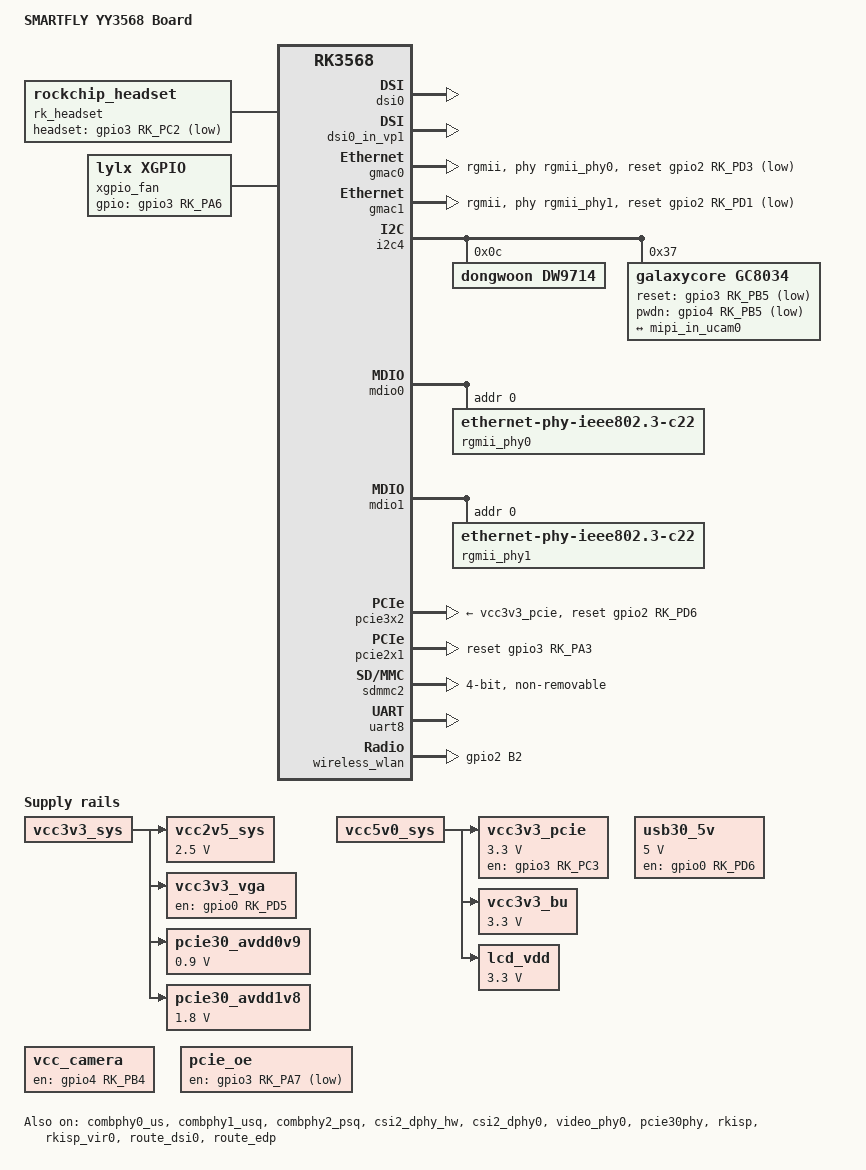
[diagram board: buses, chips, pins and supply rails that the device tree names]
// SPDX-License-Identifier: (GPL-2.0+ OR MIT)
/*
 * Copyright (c) 2020 Rockchip Electronics Co., Ltd.
 *
 */

/dts-v1/;

#include <dt-bindings/gpio/gpio.h>
#include <dt-bindings/pinctrl/rockchip.h>
#include "rk3568.dtsi"
#include "rk3568-evb.dtsi"

#include "rk3568-vp0-hdmi.dtsi"

/ {
	model = "SMARTFLY YY3568 Board";
	compatible = "rockchip,rk3568-evb1-ddr4-v10", "rockchip,rk3568";

	rk_headset: rk-headset {
		compatible = "rockchip_headset";
		headset_gpio = <&gpio3 RK_PC2 GPIO_ACTIVE_LOW>;
		pinctrl-names = "default";
		pinctrl-0 = <&hp_det>;
	};

	vcc2v5_sys: vcc2v5-ddr {
		compatible = "regulator-fixed";
		regulator-name = "vcc2v5-sys";
		regulator-always-on;
		regulator-boot-on;
		regulator-min-microvolt = <2500000>;
		regulator-max-microvolt = <2500000>;
		vin-supply = <&vcc3v3_sys>;
	};

	vcc3v3_vga: vcc3v3-vga {
		compatible = "regulator-fixed";
		regulator-name = "vcc3v3_vga";
		regulator-always-on;
		regulator-boot-on;
		gpio = <&gpio0 RK_PD5 GPIO_ACTIVE_HIGH>;
		enable-active-high;
		vin-supply = <&vcc3v3_sys>;
	};

	usb30-5v-regulator{
		compatible = "regulator-fixed";
		pinctrl-names = "default";
		pinctrl-0 = <&usb30_5v>;
		gpio = <&gpio0 RK_PD6 GPIO_ACTIVE_HIGH>;
		regulator-name = "usb30_5v";
		regulator-min-microvolt = <5000000>;
		regulator-max-microvolt = <5000000>;
		enable-active-high;
		regulator-always-on;
		regulator-boot-on;
	};

	pcie30_avdd0v9: pcie30-avdd0v9 {
		compatible = "regulator-fixed";
		regulator-name = "pcie30_avdd0v9";
		regulator-always-on;
		regulator-boot-on;
		regulator-min-microvolt = <900000>;
		regulator-max-microvolt = <900000>;
		vin-supply = <&vcc3v3_sys>;
	};

	pcie30_avdd1v8: pcie30-avdd1v8 {
		compatible = "regulator-fixed";
		regulator-name = "pcie30_avdd1v8";
		regulator-always-on;
		regulator-boot-on;
		regulator-min-microvolt = <1800000>;
		regulator-max-microvolt = <1800000>;
		vin-supply = <&vcc3v3_sys>;
	};

	vcc3v3_pcie: gpio-regulator {
		compatible = "regulator-fixed";
		regulator-name = "vcc3v3_pcie";
		regulator-min-microvolt = <3300000>;
		regulator-max-microvolt = <3300000>;
		enable-active-high;
		gpio = <&gpio3 RK_PC3 GPIO_ACTIVE_HIGH>;
		startup-delay-us = <5000>;
		vin-supply = <&vcc5v0_sys>;
	};

	vcc3v3_bu: vcc3v3-bu {
		compatible = "regulator-fixed";
		regulator-name = "vcc3v3_bu";
		regulator-always-on;
		regulator-boot-on;
		regulator-min-microvolt = <3300000>;
		regulator-max-microvolt = <3300000>;
		vin-supply = <&vcc5v0_sys>;
	};

	lcd_vdd:lcd-vdd-regulator{
		compatible = "regulator-fixed";
		regulator-name = "vdd3v3";
		regulator-always-on;
		regulator-boot-on;
		regulator-min-microvolt = <3300000>;
		regulator-max-microvolt = <3300000>;
		vin-supply = <&vcc5v0_sys>;
	};


	vcc_camera: vcc-camera-regulator {
		compatible = "regulator-fixed";
		gpio = <&gpio4 RK_PB4 GPIO_ACTIVE_HIGH>;
		pinctrl-names = "default";
		pinctrl-0 = <&camera_pwr>;
		regulator-name = "vcc_camera";
		enable-active-high;
		regulator-always-on;
		regulator-boot-on;
	};

	pcie-oe-regulator {
		compatible = "regulator-fixed";
		gpio = <&gpio3 RK_PA7 GPIO_ACTIVE_HIGH>;
		pinctrl-names = "default";
		pinctrl-0 = <&pcie_oe>;
		regulator-name = "pcie_oe";
		//enable-active-high; //active low
		regulator-always-on;
		regulator-boot-on;
	};

	xgpio_fan {
		compatible = "lylx,xgpio";
		pinctrl-names = "default";
		pinctrl-0 = <&fan_gpio>;
		gpio = <&gpio3 RK_PA6 GPIO_ACTIVE_HIGH>;
		def_val=<1>;
		status = "okay";
	};
};

&combphy0_us {
	status = "okay";
};

&combphy1_usq {
	status = "okay";
};

&combphy2_psq {
	status = "okay";
};

&csi2_dphy_hw {
	status = "okay";
};

&csi2_dphy0 {
	//csi2_dphy0不与csi2_dphy1/csi2_dphy2同时使用，互斥
	status = "okay";
	ports {
		#address-cells = <1>;
		#size-cells = <0>;
		port@0 {
			reg = <0>;
			#address-cells = <1>;
			#size-cells = <0>;

			mipi_in_ucam0: endpoint@2 {
				reg = <2>;
				remote-endpoint = <&gc8034_out>;
				data-lanes = <1 2 3 4>;
			};
		};
		port@1 {
			reg = <1>;
			#address-cells = <1>;
			#size-cells = <0>;

			csidphy_out: endpoint@0 {
				reg = <0>;
				remote-endpoint = <&isp0_in>;
			};
		};
	};
};

/*
 * video_phy0 needs to be enabled
 * when dsi0 is enabled
 */
&dsi0 {
	status = "okay";
};

&dsi0_in_vp0 {
	status = "disabled";
};

&dsi0_in_vp1 {
	status = "okay";
};

&dsi0_panel {
	power-supply = <&vcc3v3_lcd0_n>;
};

/*
 * video_phy1 needs to be enabled
 * when dsi1 is enabled
 */
&dsi1 {
	status = "disabled";
};

&dsi1_in_vp0 {
	status = "disabled";
};

&dsi1_in_vp1 {
	status = "disabled";
};

&dsi1_panel {
	power-supply = <&vcc3v3_lcd1_n>;
};

&edp {
	status = "disabled";
};

&edp_phy {
	status = "disabled";
};

&edp_in_vp0 {
	status = "disabled";
};

&edp_in_vp1 {
	status = "disabled";
};

&gmac0 {
	phy-mode = "rgmii";
	clock_in_out = "output";

	snps,reset-gpio = <&gpio2 RK_PD3 GPIO_ACTIVE_LOW>;
	snps,reset-active-low;
	/* Reset time is 20ms, 100ms for rtl8211f */
	snps,reset-delays-us = <0 20000 100000>;

	assigned-clocks = <&cru SCLK_GMAC0_RX_TX>, <&cru SCLK_GMAC0>;
	assigned-clock-parents = <&cru SCLK_GMAC0_RGMII_SPEED>, <&cru CLK_MAC0_2TOP>;
	assigned-clock-rates = <0>, <125000000>;

	pinctrl-names = "default";
	pinctrl-0 = <&gmac0_miim
		     &gmac0_tx_bus2
		     &gmac0_rx_bus2
		     &gmac0_rgmii_clk
		     &gmac0_rgmii_bus>;

	tx_delay = <0x3c>;
	rx_delay = <0x2f>;

	phy-handle = <&rgmii_phy0>;
	status = "okay";
};

&gmac1 {
	phy-mode = "rgmii";
	clock_in_out = "output";

	snps,reset-gpio = <&gpio2 RK_PD1 GPIO_ACTIVE_LOW>;
	snps,reset-active-low;
	/* Reset time is 20ms, 100ms for rtl8211f */
	snps,reset-delays-us = <0 20000 100000>;

	assigned-clocks = <&cru SCLK_GMAC1_RX_TX>, <&cru SCLK_GMAC1>;
	assigned-clock-parents = <&cru SCLK_GMAC1_RGMII_SPEED>, <&cru CLK_MAC1_2TOP>;
	assigned-clock-rates = <0>, <125000000>;

	pinctrl-names = "default";
	pinctrl-0 = <&gmac1m1_miim
		     &gmac1m1_tx_bus2
		     &gmac1m1_rx_bus2
		     &gmac1m1_rgmii_clk
		     &gmac1m1_rgmii_bus>;

	tx_delay = <0x4f>;
	rx_delay = <0x26>;

	phy-handle = <&rgmii_phy1>;
	status = "okay";
};

&i2c4 {
	status = "okay";

	dw9714: dw9714@c {
		compatible = "dongwoon,dw9714";
		status = "okay";
		reg = <0x0c>;
		rockchip,camera-module-index = <0>;
		rockchip,vcm-start-current = <10>;
		rockchip,vcm-rated-current = <85>;
		rockchip,vcm-step-mode = <5>;
		rockchip,camera-module-facing = "back";
	};

	gc8034: gc8034@37 {
		compatible = "galaxycore,gc8034";
		reg = <0x37>;
		clocks = <&cru CLK_CIF_OUT>;
		clock-names = "xvclk";
		power-domains = <&power RK3568_PD_VI>;
		//sensor mclk pinctl设置。如果sensor的工作时钟由主控提供，则此处必须配置
		pinctrl-names = "default";
		pinctrl-0 = <&cif_clk>;
		// reset管脚分配及有效电平
		reset-gpios = <&gpio3 RK_PB5 GPIO_ACTIVE_LOW>;
		// powerdown管脚分配及有效电平
		pwdn-gpios = <&gpio4 RK_PB5 GPIO_ACTIVE_LOW>;
		rockchip,grf = <&grf>;
		// 模组编号，该编号不要重复
		rockchip,camera-module-index = <0>;
		// 模组朝向，有"back"和"front"
		rockchip,camera-module-facing = "back";
		rockchip,camera-module-name = "RK-CMK-8M-2-v1";
		rockchip,camera-module-lens-name = "CK8401";
		lens-focus = <&dw9714>;
		port {
			gc8034_out: endpoint {
				// csi2 dphy端的port名
				remote-endpoint = <&mipi_in_ucam0>;
				// csi2 dphy lane数，1lane为 <1>, 4lane为 <1 2 3 4>
				// rk3568支持1*4lane和2*2lane两种模式
				data-lanes = <1 2 3 4>;
			};
		};
	};

};

&mdio0 {
	rgmii_phy0: phy@0 {
		compatible = "ethernet-phy-ieee802.3-c22";
		reg = <0x0>;
	};
};

&mdio1 {
	rgmii_phy1: phy@0 {
		compatible = "ethernet-phy-ieee802.3-c22";
		reg = <0x0>;
	};
};

&video_phy0 {
	status = "okay";
};

&video_phy1 {
	status = "disabled";
};

&pcie30phy {
	status = "okay";
};

&pcie3x2 {
	reset-gpios = <&gpio2 RK_PD6 GPIO_ACTIVE_HIGH>;
	vpcie3v3-supply = <&vcc3v3_pcie>;
	status = "okay";
};

&pcie2x1 {
	reset-gpios = <&gpio3 RK_PA3 GPIO_ACTIVE_HIGH>;
	pinctrl-names = "default";
	pinctrl-0 = <&pcie20m2_pins>;
	status = "okay";
};

&pinctrl {
	cam {
		camera_pwr: camera-pwr {
			rockchip,pins =
				/* camera power en */
				<4 RK_PB4 RK_FUNC_GPIO &pcfg_pull_none>;
		};
	};
	headphone {
		hp_det: hp-det {
			rockchip,pins = <3 RK_PC2 RK_FUNC_GPIO &pcfg_pull_down>;
		};
	};

	wireless-wlan {
		wifi_host_wake_irq: wifi-host-wake-irq {
			rockchip,pins = <2 RK_PB2 RK_FUNC_GPIO &pcfg_pull_none>;
		};
	};

	wireless-bluetooth {
		uart8_gpios: uart8-gpios {
			rockchip,pins = <2 RK_PB1 RK_FUNC_GPIO &pcfg_pull_none>;
		};
	};

	pcie {
		pcie_oe: pcie-oe{
			rockchip,pins = <3 RK_PA7 RK_FUNC_GPIO &pcfg_pull_none>;
		};
	};

	usb30 {
		usb30_5v: usb30_5v-en {
			rockchip,pins = <0 RK_PD6 RK_FUNC_GPIO &pcfg_pull_none>;
		};
	};

	fan {
		fan_gpio: fan-gpio {
			rockchip,pins = <3 RK_PA6 RK_FUNC_GPIO &pcfg_pull_none>;
		};
	};
};

&rk809_sound {
	hp-det-gpio = <&gpio3 RK_PC2 GPIO_ACTIVE_LOW>;
};

&rkisp {
	status = "okay";
};

&rkisp_mmu {
	status = "okay";
};

&rkisp_vir0 {
	status = "okay";

	port {
		#address-cells = <1>;
		#size-cells = <0>;

		isp0_in: endpoint@0 {
			reg = <0>;
			remote-endpoint = <&csidphy_out>;
		};
	};
};

&route_dsi0 {
	status = "okay";
	connect = <&vp1_out_dsi0>;
};

&route_edp {
	status = "okay";
	connect = <&vp0_out_edp>;
};

&sdmmc2 {
	max-frequency = <150000000>;
	no-sd;
	no-mmc;
	bus-width = <4>;
	disable-wp;
	cap-sd-highspeed;
	cap-sdio-irq;
	keep-power-in-suspend;
	mmc-pwrseq = <&sdio_pwrseq>;
	non-removable;
	pinctrl-names = "default";
	pinctrl-0 = <&sdmmc2m0_bus4 &sdmmc2m0_cmd &sdmmc2m0_clk>;
	sd-uhs-sdr104;
	status = "okay";
};

&uart8 {
	status = "okay";
	pinctrl-names = "default";
	pinctrl-0 = <&uart8m0_xfer &uart8m0_ctsn>;
};

&vcc3v3_lcd0_n {
	enable-active-high;
};

&vcc3v3_lcd1_n {
	enable-active-high;
};

&wireless_wlan {
	pinctrl-names = "default";
	pinctrl-0 = <&wifi_host_wake_irq>;
	WIFI,host_wake_irq = <&gpio2 RK_PB2 GPIO_ACTIVE_LOW>;
};

&wireless_bluetooth {
	compatible = "bluetooth-platdata";
	clocks = <&rk809 1>;
	clock-names = "ext_clock";
	//wifi-bt-power-toggle;
	uart_rts_gpios = <&gpio2 RK_PB1 GPIO_ACTIVE_LOW>;
	pinctrl-names = "default", "rts_gpio";
	pinctrl-0 = <&uart8m0_rtsn>;
	pinctrl-1 = <&uart8_gpios>;
	BT,reset_gpio    = <&gpio3 RK_PA0 GPIO_ACTIVE_HIGH>;
	BT,wake_gpio     = <&gpio3 RK_PA2 GPIO_ACTIVE_HIGH>;
	BT,wake_host_irq = <&gpio3 RK_PA1 GPIO_ACTIVE_HIGH>;
	status = "disabled";
};
